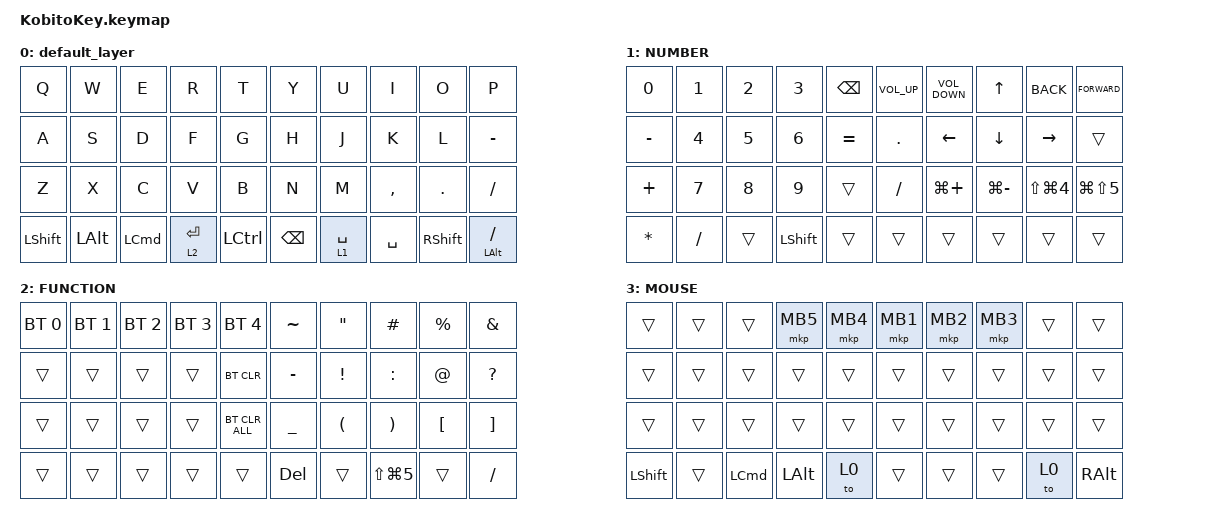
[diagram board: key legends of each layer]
#include <input/processors.dtsi>
#include <behaviors.dtsi>
#include <dt-bindings/zmk/bt.h>
#include <dt-bindings/zmk/keys.h>
#include <dt-bindings/zmk/pointing.h>

/ {
    combos {
        compatible = "zmk,combos";

        combo_eisu {
            timeout-ms = <50>;
            key-positions = <12 13>;
            bindings = <&kp LANG2>;
        };

        combo_kana {
            timeout-ms = <50>;
            key-positions = <16 17>;
            bindings = <&kp LANG1>;
        };

        combo_esc {
            timeout-ms = <50>;
            key-positions = <0 1>;
            bindings = <&kp ESC>;
        };

        combo_tab {
            timeout-ms = <50>;
            key-positions = <10 11>;
            bindings = <&kp TAB>;
        };
    };

    keymap {
        compatible = "zmk,keymap";

        default_layer {
            bindings = <
&kp Q      &kp W     &kp E     &kp R        &kp T      &kp Y     &kp U        &kp I      &kp O      &kp P
&kp A      &kp S     &kp D     &kp F        &kp G      &kp H     &kp J        &kp K      &kp L      &kp MINUS
&kp Z      &kp X     &kp C     &kp V        &kp B      &kp N     &kp M        &kp COMMA  &kp DOT    &kp SLASH
&kp LSHFT  &kp LALT  &kp LCMD  &lt 2 ENTER  &kp LCTRL  &kp BSPC  &lt 1 SPACE  &kp SPACE  &kp RSHFT  &mt LALT SLASH
            >;
        };

        layer1 {
            label = "NUMBER";
            bindings = <
&kp N0     &kp N1     &kp N2  &kp N3     &kp BACKSPACE  &kp C_VOLUME_UP  &kp C_VOLUME_DOWN  &kp UP         &kp K_BACK      &kp K_FORWARD
&kp MINUS  &kp N4     &kp N5  &kp N6     &kp EQUAL      &kp PERIOD       &kp LEFT           &kp DOWN       &kp RIGHT       &trans
&kp PLUS   &kp N7     &kp N8  &kp N9     &trans         &kp SLASH        &kp LG(PLUS)       &kp LG(MINUS)  &kp LS(LG(N4))  &kp LG(LS(N5))
&kp ASTRK  &kp SLASH  &trans  &kp LSHFT  &trans         &trans           &trans             &trans         &trans          &trans
            >;
        };

        layer2 {
            label = "FUNCTION";
            bindings = <
&bt BT_SEL 0  &bt BT_SEL 1  &bt BT_SEL 2  &bt BT_SEL 3  &bt BT_SEL 4    &kp TILDE  &kp DQT               &kp HASH               &kp PRCNT         &kp AMPS
&trans        &trans        &trans        &trans        &bt BT_CLR      &kp MINUS  &kp EXCL              &kp COLON              &kp AT_SIGN       &kp QUESTION
&trans        &trans        &trans        &trans        &bt BT_CLR_ALL  &kp UNDER  &kp LEFT_PARENTHESIS  &kp RIGHT_PARENTHESIS  &kp LEFT_BRACKET  &kp RIGHT_BRACKET
&trans        &trans        &trans        &trans        &trans          &kp DEL    &trans                &kp LS(LG(N5))         &trans            &kp SLASH
            >;
        };

        layer3 {
            label = "MOUSE";
            bindings = <
&trans     &trans  &trans    &mkp MB5  &mkp MB4  &mkp MB1  &mkp MB2  &mkp MB3  &trans  &trans
&trans     &trans  &trans    &trans    &trans    &trans    &trans    &trans    &trans  &trans
&trans     &trans  &trans    &trans    &trans    &trans    &trans    &trans    &trans  &trans
&kp LSHFT  &trans  &kp LCMD  &kp LALT  &to 0     &trans    &trans    &trans    &to 0   &kp RALT
            >;
        };
    };
};
